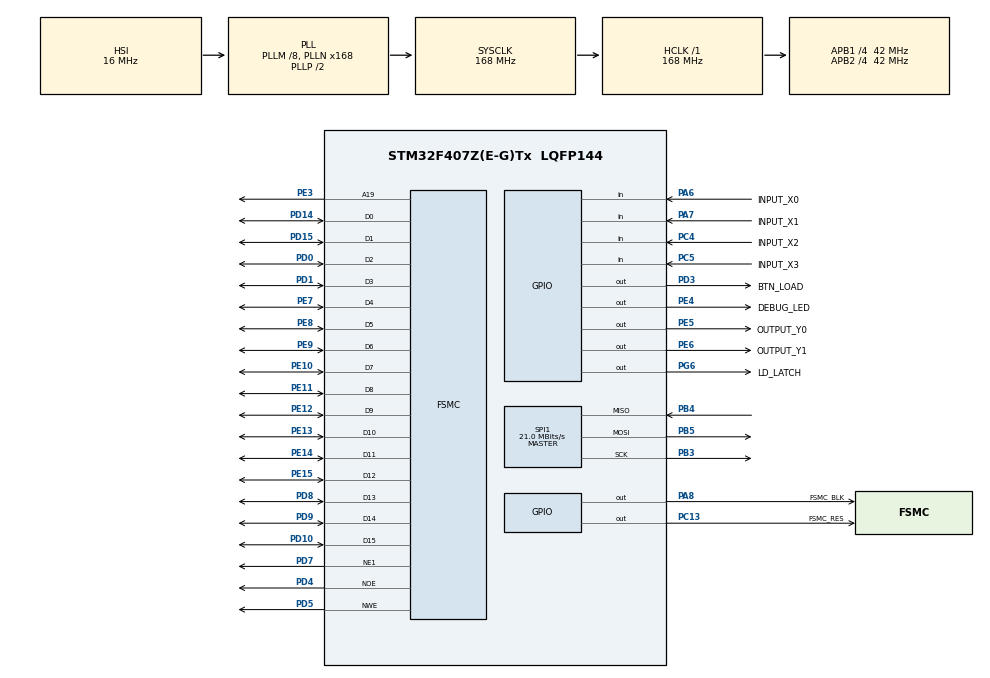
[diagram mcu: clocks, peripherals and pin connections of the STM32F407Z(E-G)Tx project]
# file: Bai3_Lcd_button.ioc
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FSMC.AddressSetupTime1=0xf
FSMC.BusTurnAroundDuration1=0
FSMC.DataSetupTime1=60
FSMC.ExtendedAddressSetupTime1=8
FSMC.ExtendedBusTurnAroundDuration1=0
FSMC.ExtendedDataSetupTime1=9
FSMC.ExtendedMode1=FSMC_EXTENDED_MODE_ENABLE
Mcu.Family=STM32F4
Mcu.Name=STM32F407Z(E-G)Tx
Mcu.Package=LQFP144
NVIC.PriorityGroup=NVIC_PRIORITYGROUP_4
NVIC.TIM2_IRQn=true\:0\:0\:false\:false\:true\:true\:true\:true
PA13.Mode=Serial_Wire
PA13.Signal=SYS_JTMS-SWDIO
PA14.Mode=Serial_Wire
PA14.Signal=SYS_JTCK-SWCLK
PA6.GPIO_Label=INPUT_X0
PA6.Signal=GPIO_Input
PA7.GPIO_Label=INPUT_X1
PA7.Signal=GPIO_Input
PA8.GPIO_Label=FSMC_BLK
PA8.Signal=GPIO_Output
PB3.Mode=Full_Duplex_Master
PB3.Signal=SPI1_SCK
PB4.Mode=Full_Duplex_Master
PB4.Signal=SPI1_MISO
PB5.Mode=Full_Duplex_Master
PB5.Signal=SPI1_MOSI
PC13-ANTI_TAMP.GPIO_Label=FSMC_RES
PC13-ANTI_TAMP.Signal=GPIO_Output
PC4.GPIO_Label=INPUT_X2
PC4.Signal=GPIO_Input
PC5.GPIO_Label=INPUT_X3
PC5.Signal=GPIO_Input
PD0.Signal=FSMC_D2_DA2
PD1.Signal=FSMC_D3_DA3
PD10.Signal=FSMC_D15_DA15
PD14.Signal=FSMC_D0_DA0
PD15.Signal=FSMC_D1_DA1
PD3.GPIO_Label=BTN_LOAD
PD3.Signal=GPIO_Output
PD4.Signal=FSMC_NOE
PD5.Signal=FSMC_NWE
PD7.Mode=NorPsramChipSelect1_1
PD7.Signal=FSMC_NE1
PD8.Signal=FSMC_D13_DA13
PD9.Signal=FSMC_D14_DA14
PE10.Signal=FSMC_D7_DA7
PE11.Signal=FSMC_D8_DA8
PE12.Signal=FSMC_D9_DA9
PE13.Signal=FSMC_D10_DA10
PE14.Signal=FSMC_D11_DA11
PE15.Signal=FSMC_D12_DA12
PE3.Signal=FSMC_A19
PE4.GPIO_Label=DEBUG_LED
PE4.Signal=GPIO_Output
PE5.GPIO_Label=OUTPUT_Y0
PE5.Signal=GPIO_Output
PE6.GPIO_Label=OUTPUT_Y1
PE6.Signal=GPIO_Output
PE7.Signal=FSMC_D4_DA4
PE8.Signal=FSMC_D5_DA5
PE9.Signal=FSMC_D6_DA6
PG6.GPIO_Label=LD_LATCH
PG6.Signal=GPIO_Output
PH0-OSC_IN.Mode=HSE-External-Oscillator
PH0-OSC_IN.Signal=RCC_OSC_IN
PH1-OSC_OUT.Mode=HSE-External-Oscillator
PH1-OSC_OUT.Signal=RCC_OSC_OUT
ProjectManager.HeapSize=0x200
ProjectManager.StackSize=0x400
ProjectManager.TargetToolchain=STM32CubeIDE
RCC.48MHZClocksFreq_Value=84000000
RCC.AHBFreq_Value=168000000
RCC.APB1CLKDivider=RCC_HCLK_DIV4
RCC.APB1Freq_Value=42000000
RCC.APB1TimFreq_Value=84000000
RCC.APB2CLKDivider=RCC_HCLK_DIV4
RCC.APB2Freq_Value=42000000
RCC.APB2TimFreq_Value=84000000
RCC.CortexFreq_Value=168000000
RCC.HCLKFreq_Value=168000000
RCC.HSE_VALUE=8000000
RCC.HSI_VALUE=16000000
RCC.LSE_VALUE=32768
RCC.PLLM=8
RCC.PLLN=168
RCC.SYSCLKFreq_VALUE=168000000
RCC.SYSCLKSource=RCC_SYSCLKSOURCE_PLLCLK
RCC.VCOOutputFreq_Value=336000000
SH.FSMC_A19.0=FSMC_A19,A19_1
SH.FSMC_D0_DA0.0=FSMC_D0,16b-d1
SH.FSMC_D10_DA10.0=FSMC_D10,16b-d1
SH.FSMC_D11_DA11.0=FSMC_D11,16b-d1
SH.FSMC_D12_DA12.0=FSMC_D12,16b-d1
SH.FSMC_D13_DA13.0=FSMC_D13,16b-d1
SH.FSMC_D14_DA14.0=FSMC_D14,16b-d1
SH.FSMC_D15_DA15.0=FSMC_D15,16b-d1
SH.FSMC_D1_DA1.0=FSMC_D1,16b-d1
SH.FSMC_D2_DA2.0=FSMC_D2,16b-d1
SH.FSMC_D3_DA3.0=FSMC_D3,16b-d1
SH.FSMC_D4_DA4.0=FSMC_D4,16b-d1
SH.FSMC_D5_DA5.0=FSMC_D5,16b-d1
SH.FSMC_D6_DA6.0=FSMC_D6,16b-d1
SH.FSMC_D7_DA7.0=FSMC_D7,16b-d1
SH.FSMC_D8_DA8.0=FSMC_D8,16b-d1
SH.FSMC_D9_DA9.0=FSMC_D9,16b-d1
SH.FSMC_NOE.0=FSMC_NOE,Lcd1
SH.FSMC_NWE.0=FSMC_NWE,Lcd1
SPI1.BaudRatePrescaler=SPI_BAUDRATEPRESCALER_2
SPI1.CalculateBaudRate=21.0 MBits/s
SPI1.Direction=SPI_DIRECTION_2LINES
SPI1.Mode=SPI_MODE_MASTER
SPI1.VirtualType=VM_MASTER
TIM2.Period=100-1
TIM2.Prescaler=840-1
VP_TIM2_VS_ClockSourceINT.Mode=Internal
board=custom

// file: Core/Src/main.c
/* USER CODE BEGIN Header */
/**
  ******************************************************************************
  * @file           : main.c
  * @brief          : Main program body
  ******************************************************************************
  * @attention
  *
  * <h2><center>&copy; Copyright (c) 2023 STMicroelectronics.
  * All rights reserved.</center></h2>
  *
  * This software component is licensed by ST under BSD 3-Clause license,
  * the "License"; You may not use this file except in compliance with the
  * License. You may obtain a copy of the License at:
  *                        opensource.org/licenses/BSD-3-Clause
  *
  ******************************************************************************
  */
/* USER CODE END Header */
#include "main.h"
#include "spi.h"
#include "tim.h"
#include "gpio.h"
#include "fsmc.h"

/* USER CODE BEGIN Includes */
#include "software_timer.h"
#include "led_7seg.h"
#include "button.h"
#include "lcd.h"
#include "picture.h"
/* USER CODE END Includes */

void SystemClock_Config(void);
/* USER CODE BEGIN PFP */
void system_init();
void test_LedDebug();
void test_LedY0();
void test_LedY1();
void test_7seg();
void test_button();
void test_lcd();
/* USER CODE END PFP */

int main(void)
{

  /* MCU Configuration--------------------------------------------------------*/

  /* Reset of all peripherals, Initializes the Flash interface and the Systick. */
  HAL_Init();

  /* Configure the system clock */
  SystemClock_Config();

  /* Initialize all configured peripherals */
  MX_GPIO_Init();
  MX_TIM2_Init();
  MX_SPI1_Init();
  MX_FSMC_Init();
  /* USER CODE BEGIN 2 */
  system_init();
  lcd_Clear(WHITE);
  test_lcd();
  /* USER CODE END 2 */

  /* Infinite loop */
  /* USER CODE BEGIN WHILE */
  while (1)
  {
	  while(!flag_timer2);
	  flag_timer2 = 0;
	  button_Scan();
	  trafic_lights();
//	  test_button();

    /* USER CODE END WHILE */

  }
}

void SystemClock_Config(void)
{
  RCC_OscInitTypeDef RCC_OscInitStruct = {0};
  RCC_ClkInitTypeDef RCC_ClkInitStruct = {0};

  /** Configure the main internal regulator output voltage
  */
  __HAL_RCC_PWR_CLK_ENABLE();
  __HAL_PWR_VOLTAGESCALING_CONFIG(PWR_REGULATOR_VOLTAGE_SCALE1);

  /** Initializes the RCC Oscillators according to the specified parameters
  * in the RCC_OscInitTypeDef structure.
  */
  RCC_OscInitStruct.OscillatorType = RCC_OSCILLATORTYPE_HSI;
  RCC_OscInitStruct.HSIState = RCC_HSI_ON;
  RCC_OscInitStruct.HSICalibrationValue = RCC_HSICALIBRATION_DEFAULT;
  RCC_OscInitStruct.PLL.PLLState = RCC_PLL_ON;
  RCC_OscInitStruct.PLL.PLLSource = RCC_PLLSOURCE_HSI;
  RCC_OscInitStruct.PLL.PLLM = 8;
  RCC_OscInitStruct.PLL.PLLN = 168;
  RCC_OscInitStruct.PLL.PLLP = RCC_PLLP_DIV2;
  RCC_OscInitStruct.PLL.PLLQ = 4;
  if (HAL_RCC_OscConfig(&RCC_OscInitStruct) != HAL_OK)
  {
    Error_Handler();
  }

  /** Initializes the CPU, AHB and APB buses clocks
  */
  RCC_ClkInitStruct.ClockType = RCC_CLOCKTYPE_HCLK|RCC_CLOCKTYPE_SYSCLK
                              |RCC_CLOCKTYPE_PCLK1|RCC_CLOCKTYPE_PCLK2;
  RCC_ClkInitStruct.SYSCLKSource = RCC_SYSCLKSOURCE_PLLCLK;
  RCC_ClkInitStruct.AHBCLKDivider = RCC_SYSCLK_DIV1;
  RCC_ClkInitStruct.APB1CLKDivider = RCC_HCLK_DIV4;
  RCC_ClkInitStruct.APB2CLKDivider = RCC_HCLK_DIV4;

  if (HAL_RCC_ClockConfig(&RCC_ClkInitStruct, FLASH_LATENCY_5) != HAL_OK)
  {
    Error_Handler();
  }
}

/* USER CODE BEGIN 4 */
void system_init(){
	  HAL_GPIO_WritePin(OUTPUT_Y0_GPIO_Port, OUTPUT_Y0_Pin, 0);
	  HAL_GPIO_WritePin(OUTPUT_Y1_GPIO_Port, OUTPUT_Y1_Pin, 0);
	  HAL_GPIO_WritePin(DEBUG_LED_GPIO_Port, DEBUG_LED_Pin, 0);
	  timer_init();
	  led7_init();
	  button_init();
	  lcd_init();
	  setTimer2(50);
}

uint8_t count1 = 0;
uint8_t count2 = 0;
uint8_t count_second = 0;

uint8_t count_led_debug = 0;
uint8_t count_led_Y0 = 0;
uint8_t count_led_Y1 = 0;

uint8_t count_red = 5;
uint8_t count_green = 3;
uint8_t count_yellow = 2;
uint8_t temp_count[3];
uint8_t temp[3];

enum Mode{
	modeRED,
	modeGREEN,
	modeYELLOW,
	modeRunning,
	modeInit
};

enum Mode currentMode = modeInit;

void test_LedDebug(){
	count_led_debug = (count_led_debug + 1)%10;
	if(count_led_debug == 0){
		HAL_GPIO_TogglePin(DEBUG_LED_GPIO_Port, DEBUG_LED_Pin);
		HAL_GPIO_WritePin(OUTPUT_Y0_GPIO_Port, OUTPUT_Y0_Pin, 0);
		HAL_GPIO_WritePin(OUTPUT_Y1_GPIO_Port, OUTPUT_Y1_Pin, 0);
	}
}

void test_LedY0(){
	count_led_Y0 = (count_led_Y0 + 1)%10;
	if(count_led_Y0 == 0){
		HAL_GPIO_TogglePin(OUTPUT_Y0_GPIO_Port, OUTPUT_Y0_Pin);
		HAL_GPIO_WritePin(DEBUG_LED_GPIO_Port, DEBUG_LED_Pin, 0);
		HAL_GPIO_WritePin(OUTPUT_Y1_GPIO_Port, OUTPUT_Y1_Pin, 0);
	}
}

void test_LedY1(){
	count_led_Y1 = (count_led_Y1 + 1)%10;
	if(count_led_Y1 == 0){
		HAL_GPIO_TogglePin(OUTPUT_Y1_GPIO_Port, OUTPUT_Y1_Pin);
		HAL_GPIO_WritePin(DEBUG_LED_GPIO_Port, DEBUG_LED_Pin, 0);
		HAL_GPIO_WritePin(OUTPUT_Y0_GPIO_Port, OUTPUT_Y0_Pin, 0);
	}
}

void show_7seg(uint8_t num){
	if (num < 10) {
		led7_SetDigit(num, 3, 0);
	} else {
		uint8_t first = num / 10;
		uint8_t second = num % 10;
		led7_SetDigit(first, 2, 0);
		led7_SetDigit(second, 3, 0);
	}
}

void test_lcd(){
	lcd_Fill(0, 0, 240, 20, BLUE);
	lcd_StrCenter(0, 2, "Traffic lights !!!", RED, BLUE, 16, 1);
//	lcd_ShowStr(20, 30, "Test lcd screen", WHITE, RED, 24, 0);
//	lcd_DrawCircle(60, 120, GREEN, 40, 1);
//	lcd_DrawCircle(160, 120, BRED, 40, 0);
//	lcd_ShowPicture(80, 200, 90, 90, gImage_logo);

	lcd_DrawLine(80, 50, 80, 150, BLUE);
	lcd_DrawLine(160, 50, 160, 150, BLUE);
	lcd_DrawLine(80, 230, 80, 330, BLUE);
	lcd_DrawLine(160, 230, 160, 330, BLUE);
	lcd_DrawLine(0, 150, 80, 150, BLUE);
	lcd_DrawLine(160, 150, 240, 150, BLUE);
	lcd_DrawLine(0, 230, 80, 230, BLUE);
	lcd_DrawLine(160, 230, 240, 230, BLUE);

	lcd_DrawCircle(95, 140, GRAY, 10, 1);
	lcd_DrawCircle(120, 140, GRAY, 10, 1);
	lcd_DrawCircle(145, 140, GRAY, 10, 1);
	lcd_DrawCircle(170, 165, GRAY, 10, 1);
	lcd_DrawCircle(170, 190, GRAY, 10, 1);
	lcd_DrawCircle(170, 215, GRAY, 10, 1);

	lcd_ShowStr(10, 30, "MODE:", RED, WHITE, 16, 1);
	lcd_ShowIntNum(50, 30, 1, 1, RED, WHITE, 16);
	lcd_DrawCircle(30, 80, BRED, 20, 0);
}

void trafic_lights(){
	switch (currentMode) {
		case modeInit:
			currentMode = modeRunning;
			break;
		case modeRunning:
			HAL_GPIO_WritePin(DEBUG_LED_GPIO_Port, DEBUG_LED_Pin, 0);
			HAL_GPIO_WritePin(OUTPUT_Y0_GPIO_Port, OUTPUT_Y0_Pin, 0);
			HAL_GPIO_WritePin(OUTPUT_Y1_GPIO_Port, OUTPUT_Y1_Pin, 0);
			lcd_ShowIntNum(50, 30, 1, 1, RED, WHITE, 16);
			lcd_ShowIntNum(26, 72, 0, 2, RED, WHITE, 16);
			count_second = (count_second + 1) % 20;
			count1 = (count1 + 1) % (20 * (count_red + count_green + count_yellow));
			count2 = (count2 + 1) % (20 * (count_red + count_green + count_yellow));
			if (count1 <= (20 * count_red) && count2 <= (20 * (count_green + count_yellow))){
				if (temp[0] == 0) {
					temp[0] = count_red;
				} else {
					if (count_second == 0) {
						temp[0]--;
					}
				}
				show_7seg(temp[0]);
				lcd_DrawCircle(120, 140, GRAY, 10, 1);
				lcd_DrawCircle(170, 215, GRAY, 10, 1);
				lcd_DrawCircle(145, 140, RED, 10, 1);
				if (count2 <= (20 * count_green)) {
					lcd_DrawCircle(170, 165, GREEN, 10, 1);
				} else {
					lcd_DrawCircle(170, 165, GRAY, 10, 1);
					lcd_DrawCircle(170, 190, YELLOW, 10, 1);
				}
			} else if (count1 > (20 * count_red) && count1 <= (20 * (count_red + count_green)) && count2 <= (20 * (count_red + count_green + count_yellow))) {
				if (temp[1] == 0) {
					temp[1] = count_green;
				} else {
					if (count_second == 0) {
						temp[1]--;
					}
				}
				show_7seg(temp[1]);
				lcd_DrawCircle(145, 140, GRAY, 10, 1);
				lcd_DrawCircle(95, 140, GREEN, 10, 1);
				lcd_DrawCircle(170, 190, GRAY, 10, 1);
				lcd_DrawCircle(170, 215, RED, 10, 1);
			} else if (count1 > (20 * (count_red + count_green)) && count1 <= (20 * (count_red + count_green + count_yellow)) && count2 <= (20 * (count_red + count_green + count_yellow))) {
				if (temp[2] == 0) {
					temp[2] = count_yellow;
				} else {
					if (count_second == 0) {
						temp[2]--;
					}
				}
				show_7seg(temp[2]);
				lcd_DrawCircle(95, 140, GRAY, 10, 1);
				lcd_DrawCircle(120, 140, YELLOW, 10, 1);
			}

			if (button_count[0] == 1) {
				currentMode = modeRED;
			}
			break;

		case modeRED:
			temp[0] = 0;
			temp[1] = 0;
			temp[2] = 0;
			test_LedDebug();

			lcd_DrawCircle(95, 140, GRAY, 10, 1);
			lcd_DrawCircle(120, 140, GRAY, 10, 1);
			lcd_DrawCircle(145, 140, RED, 10, 1);
			lcd_DrawCircle(170, 165, GRAY, 10, 1);
			lcd_DrawCircle(170, 190, GRAY, 10, 1);
			lcd_DrawCircle(170, 215, RED, 10, 1);

			lcd_ShowIntNum(50, 30, 2, 1, RED, WHITE, 16);

			temp_count[1] = 0;
			temp_count[2] = 0;
			if (temp_count[0] == 0) {
				temp_count[0] = count_red;
			}
			lcd_ShowIntNum(26, 72, temp_count[0], 2, RED, WHITE, 16);
			show_7seg(temp_count[0]);

			if (button_count[0] == 1) {
				currentMode = modeYELLOW;
			}

			if (button_count[1] == 1) {
				temp_count[0] = temp_count[0] + 1;
				if (temp_count[0] > 99) {
					temp_count[0] = 1;
				}
			}

			if (button_count[2] == 1) {
				count_red = temp_count[0];
			}
			break;

		case modeYELLOW:
			temp[0] = 0;
			temp[1] = 0;
			temp[2] = 0;
			test_LedY0();

			lcd_DrawCircle(95, 140, GRAY, 10, 1);
			lcd_DrawCircle(120, 140, YELLOW, 10, 1);
			lcd_DrawCircle(145, 140, GRAY, 10, 1);
			lcd_DrawCircle(170, 165, GRAY, 10, 1);
			lcd_DrawCircle(170, 190, YELLOW, 10, 1);
			lcd_DrawCircle(170, 215, GRAY, 10, 1);

			lcd_ShowIntNum(50, 30, 3, 1, RED, WHITE, 16);

			temp_count[0] = 0;
			temp_count[2] = 0;
			if (temp_count[1] == 0) {
				temp_count[1] = count_yellow;
			}
			lcd_ShowIntNum(26, 72, temp_count[1], 2, RED, WHITE, 16);
			show_7seg(temp_count[1]);

			if (button_count[0] == 1) {
				currentMode = modeGREEN;
			}
			if (button_count[1] == 1) {
				temp_count[1] = temp_count[1] + 1;
				if (temp_count[1] > 99) {
					temp_count[1] = 1;
				}
			}

			if (button_count[2] == 1) {
				count_yellow = temp_count[1];
			}
			break;

		case modeGREEN:
			temp[0] = 0;
			temp[1] = 0;
			temp[2] = 0;
			test_LedY1();

			lcd_DrawCircle(95, 140, GREEN, 10, 1);
			lcd_DrawCircle(120, 140, GRAY, 10, 1);
			lcd_DrawCircle(145, 140, GRAY, 10, 1);
			lcd_DrawCircle(170, 165, GREEN, 10, 1);
			lcd_DrawCircle(170, 190, GRAY, 10, 1);
			lcd_DrawCircle(170, 215, GRAY, 10, 1);

			lcd_ShowIntNum(50, 30, 4, 1, RED, WHITE, 16);

			temp_count[0] = 0;
			temp_count[1] = 0;
			if (temp_count[2] == 0) {
				temp_count[2] = count_green;
			}
			lcd_ShowIntNum(26, 72, temp_count[2], 2, RED, WHITE, 16);
			show_7seg(temp_count[2]);

			if (button_count[0] == 1) {
				lcd_DrawCircle(95, 140, GRAY, 10, 1);
				lcd_DrawCircle(170, 165, GRAY, 10, 1);
				currentMode = modeRunning;
			}
			if (button_count[1] == 1) {
				temp_count[2] = temp_count[2] + 1;
				if (temp_count[2] > 99) {
					temp_count[2] = 1;
				}
			}

			if (button_count[2] == 1) {
				count_green = temp_count[2];
			}
			break;
	}

}
/* USER CODE END 4 */

void Error_Handler(void)
{
  __disable_irq();
  while (1)
  {
  }
}
